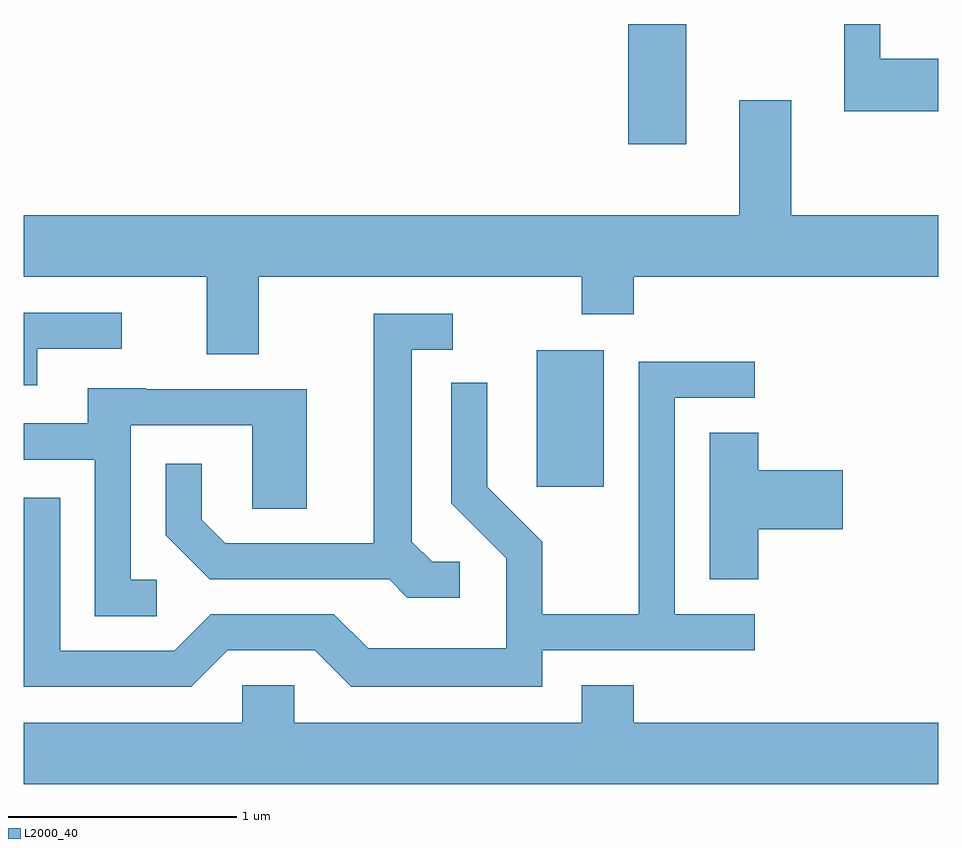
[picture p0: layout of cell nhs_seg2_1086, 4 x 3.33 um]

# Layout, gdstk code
import gdstk
lib = gdstk.Library(unit=1e-6, precision=1e-09)
def R(c, l, rs):  # rectangles x0, y0, x1, y1
    for r in rs: c.add(gdstk.rectangle(r[:2], r[2:], *l))
def P(c, l, *ps):  # polygons
    for p in ps: c.add(gdstk.Polygon(p, *l))
L2000_40 = (2000, 40)

nhs_seg2_1086 = lib.new_cell('nhs_seg2_1086')
R(nhs_seg2_1086, L2000_40, [(217.856,1111.776,218.149,1112.374), (218.256,1113.276,218.509,1113.802)])
P(nhs_seg2_1086, L2000_40, [(219.611,1113.649),(219.359,1113.649),(219.359,1113.802),(219.201,1113.802),(219.201,1113.421),(219.611,1113.421)],
  [(216.639,1112.696),(218.051,1112.696),(218.051,1112.531),(218.279,1112.531),(218.279,1112.696),(219.611,1112.696),(219.611,1112.964),(218.969,1112.964),(218.969,1113.469),(218.741,1113.469),(218.741,1112.964),(215.611,1112.964),(215.611,1112.696),(216.411,1112.696),(216.411,1112.356),(216.639,1112.356)],
  [(215.669,1112.381),(216.038,1112.381),(216.038,1112.539),(215.611,1112.539),(215.611,1112.221),(215.669,1112.221)],
  [(217.518,1111.449),(217.397,1111.449),(217.309,1111.537),(217.309,1112.376),(217.488,1112.376),(217.488,1112.534),(217.141,1112.534),(217.141,1111.529),(216.492,1111.529),(216.389,1111.632),(216.389,1111.878),(216.231,1111.878),(216.231,1111.564),(216.424,1111.371),(217.209,1111.371),(217.289,1111.291),(217.518,1111.291)],
  [(216.502,1111.061),(216.884,1111.061),(217.044,1110.901),(217.879,1110.901),(217.879,1111.061),(218.808,1111.061),(218.808,1111.219),(218.459,1111.219),(218.459,1112.166),(218.808,1112.166),(218.808,1112.324),(218.301,1112.324),(218.301,1111.219),(217.879,1111.219),(217.879,1111.537),(217.639,1111.777),(217.639,1112.233),(217.481,1112.233),(217.481,1111.704),(217.721,1111.464),(217.721,1111.069),(217.117,1111.069),(216.967,1111.219),(216.429,1111.219),(216.269,1111.059),(215.769,1111.059),(215.769,1111.729),(215.611,1111.729),(215.611,1110.901),(216.342,1110.901)],
  [(216.193,1111.369),(216.079,1111.369),(216.079,1112.046),(216.611,1112.046),(216.611,1111.681),(216.849,1111.681),(216.849,1112.204),(216.145,1112.204),(216.145,1112.209),(215.891,1112.209),(215.891,1112.054),(215.611,1112.054),(215.611,1111.896),(215.921,1111.896),(215.921,1111.211),(216.193,1111.211)],
  [(218.824,1111.591),(219.194,1111.591),(219.194,1111.849),(218.824,1111.849),(218.824,1112.014),(218.611,1112.014),(218.611,1111.371),(218.824,1111.371)],
  [(219.611,1110.744),(218.279,1110.744),(218.279,1110.909),(218.051,1110.909),(218.051,1110.744),(216.794,1110.744),(216.794,1110.909),(216.566,1110.909),(216.566,1110.744),(215.611,1110.744),(215.611,1110.476),(219.611,1110.476)])

lib.write_gds('nhs_seg2_1086.gds')
